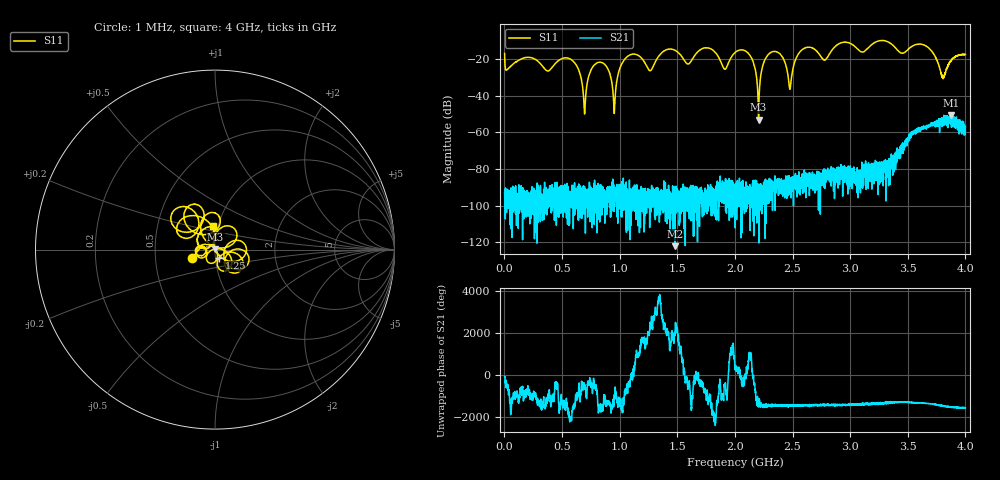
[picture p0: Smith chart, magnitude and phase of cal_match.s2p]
!Created with skrf (http://scikit-rf.org).
# GHz S RI R 50.0
!freq ReS11 ImS11 ReS21 ImS21 ReS12 ImS12 ReS22 ImS22
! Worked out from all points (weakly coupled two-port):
!   4000 points, 1 MHz to 4 GHz, reference 50 ohm
!   highest |S21| = -50.56 dB at 3.874 GHz (marker M1); lowest = -122.1 dB at 1.481 GHz (marker M2)
!   lowest |S11| = -53.1 dB at 2.205 GHz (marker M3), VSWR 1.00, Z = 50.2 + j0.12 ohm
!   |S11| at or under -10 dB: start of sweep to 3.272 GHz; 3.275084 GHz to 3.277115 GHz (2.031 MHz wide, 0.062 % of centre); 3.281 GHz to end of sweep (the widest 3 of 4)
!   S12 and S22 are empty: the file has one direction only
!   S11 on the Smith chart (normalised r, x): 1 MHz: 0.77, -0.08; 1.25 GHz: 1.04, -0.10; 4 GHz: 0.95, +0.25
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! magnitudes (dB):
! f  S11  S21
! 1 MHz  -17.1  -92.8
! 552 MHz  -19.6  -96.2
! 668 MHz  -31.4  -102.0
! 698 MHz  -47.9  -94.6
! 847 MHz  -22.1  -103.2
! 953 MHz  -49.8  -94.4
! 1.069 GHz  -18.6  -113.5
! 1.25 GHz  -25.8  -101.1
! 1.334 GHz  -18.9  -102.4
! 1.481 GHz  -15.4  -122.1
! 1.912 GHz  -25.7  -88.1
! 2.001 GHz  -16.6  -88.3
! 2.131 GHz  -18.2  -113.5
! 2.205 GHz  -53.1  -90.4
! 2.303 GHz  -16.9  -87.6
! 2.477 GHz  -36.6  -84.9
! 2.667 GHz  -14.0  -87.2
! 3.334 GHz  -10.9  -89.1
! 3.66 GHz  -13.1  -56.6
! 3.805 GHz  -30.6  -56.5
! 3.874 GHz  -21.0  -50.6
! 4 GHz  -17.6  -56.8
